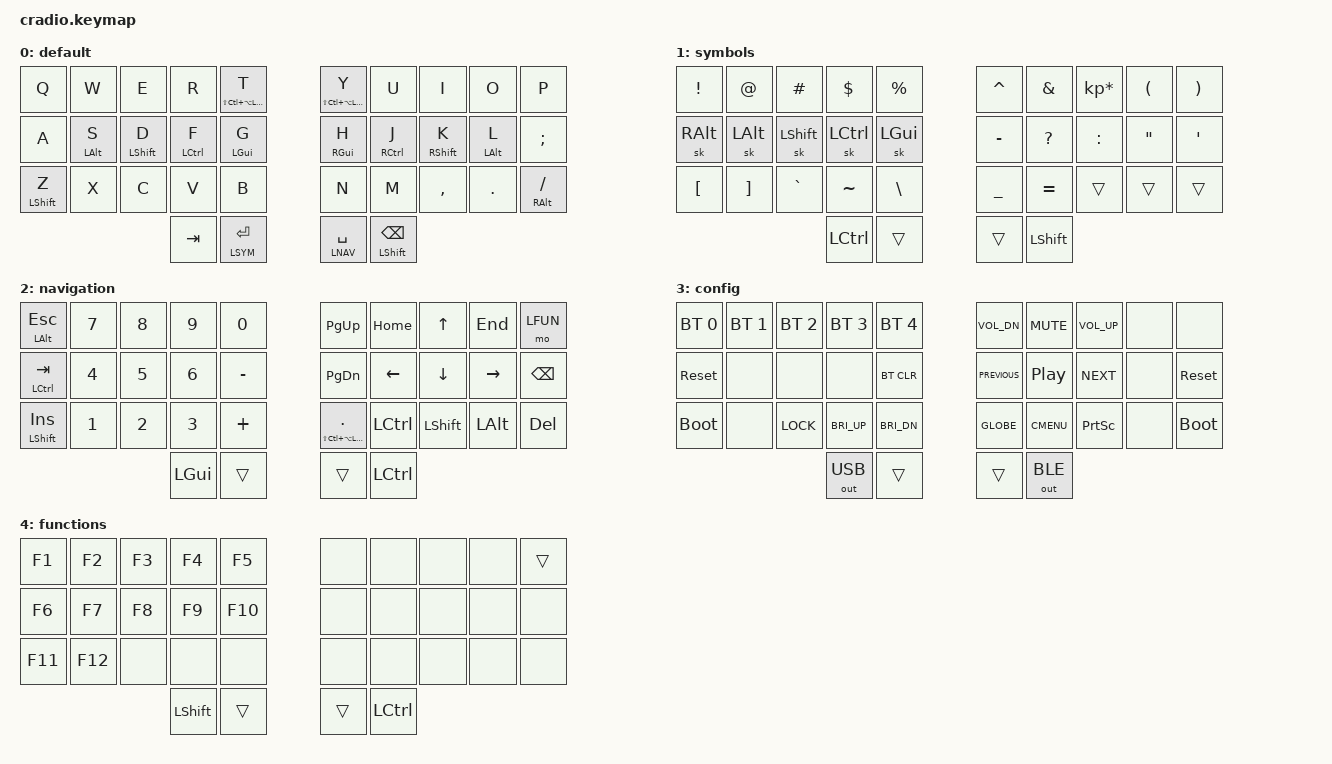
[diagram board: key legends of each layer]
/*
 * Copyright (c) 2020 The ZMK Contributors
 *
 * SPDX-License-Identifier: MIT
 */

#include <behaviors.dtsi>
#include <dt-bindings/zmk/keys.h>
#include <dt-bindings/zmk/bt.h>
#include <dt-bindings/zmk/outputs.h>

#define LBAS 0
#define LSYM 1
#define LNAV 2
#define LCFG 3
#define LFUN 4

#define KEYS_L 0 1 2 3 4 10 11 12 13 14 20 21 22 23 24
#define KEYS_R 5 6 7 8 9 15 16 17 18 19 25 26 27 28 29
#define THUMBS 30 31 32 33

// Hyper key shortcut
#define LHYP LS(LC(LA(LGUI)))

// For layer-tap, to handle repeated taps (e.g. hold BSPC):
&lt {
    quick-tap-ms = <200>;
};
&mt {
    quick-tap-ms = <200>;
};

&sk {
    release-after-ms = <2000>;
};

/ {
    behaviors {
        mtt:mod_tap_to {
            compatible = "zmk,behavior-hold-tap";
            label = "MOD_TAP_TO";
            #binding-cells = <2>;
            flavor = "balanced";
            tapping-term-ms = <200>;
            quick-tap-ms = <0>;
            bindings = <&kp>, <&to>;
        };
        mlt:momentary_layer_tap_to {
            compatible = "zmk,behavior-hold-tap";
            label="MOMENTARY_LAYER_TAP_TO";
            #binding-cells = <2>;
            flavor = "balanced";
            tapping-term-ms = <200>;
            quick-tap-ms = <0>;
            bindings = <&mo>, <&to>;
        };
        hml:home_row_mod_left {
            compatible = "zmk,behavior-hold-tap";
            flavor = "balanced";
            #binding-cells = <2>;
            tapping-term-ms = <280>;
            quick-tap-ms = <200>;
            require-prior-idle-ms = <120>;
            bindings = <&kp>, <&kp>;
            hold-trigger-key-positions = <KEYS_R THUMBS>;
            hold-trigger-on-release;
        };
        hmr:home_row_mod_right {
            compatible = "zmk,behavior-hold-tap";
            flavor = "balanced";
            #binding-cells = <2>;
            tapping-term-ms = <280>;
            quick-tap-ms = <200>;
            require-prior-idle-ms = <120>;
            bindings = <&kp>, <&kp>;
            hold-trigger-key-positions = <KEYS_L THUMBS>;
            hold-trigger-on-release;
        };

        nwin: swapper {
          compatible = "zmk,behavior-tri-state";
          #binding-cells = <0>;
          bindings = <&kt LGUI>, <&kp TAB>, <&kt LGUI>;
          ignored-key-positions = <KEYS_L>;
        };

    };

    conditional_layers {
        compatible = "zmk,conditional-layers";
        adjust_layer {
            if-layers = <LSYM LNAV>;
            then-layer = <LCFG>;
        };
    };
    combos {
        compatible = "zmk,combos";
        require-prior-idle-ms = <100>;
        timeout-ms = <100>;
        /*
        // Escape under W-E
        combo_esc {
            key-positions = <1 2>;
            bindings = <&kp ESC>;
        };
        // Enter under E-R
        combo_enter {
          key-positions = <2 3>;
          bindings = <&kp ENTER>;
        };
        // Backspace under U-I
        combo_bspc {
          key-positions = <6 7>;
          bindings = <&kp BSPC>;
        };
        // Delete under I-O
        combo_del {
          key-positions = <7 8>;
          bindings = <&kp DEL>;
        };
        */
    };

    keymap {
        compatible = "zmk,keymap";
       	layer_default {
            label = "default";
            bindings = <
            &kp Q       &kp W       &kp E        &kp R        &hml LHYP T      &hmr LHYP Y   &kp U         &kp I        &kp O       &kp P
            &kp A       &hml LALT S &hml LSHFT D &hml LCTRL F &hml LGUI G      &hmr RGUI H   &hmr RCTRL J  &hmr RSHFT K &hmr LALT L &kp SEMI
            &mt LSHFT Z &kp X       &kp C        &kp V        &kp B            &kp N         &kp M         &kp COMMA    &kp DOT     &mt RALT FSLH
                                                 &kp TAB &lt LSYM ENTER  	   &lt LNAV SPC &mt LSHFT BSPC
            >;
		};
       	layer_symbols {
            label = "symbols";
            bindings = <
            &kp EXCL &kp AT   &kp HASH  &kp DLLR  &kp PRCNT       &kp CARET  &kp AMPS   &kp KP_MULTIPLY  &kp LPAR &kp RPAR
            &sk RALT &sk LALT &sk LSHFT &sk LCTRL &sk LGUI        &kp MINUS  &kp QMARK  &kp COLON        &kp DQT &kp SQT
            &kp LBKT &kp RBKT &kp GRAVE &kp TILDE &kp BSLH        &kp UNDER  &kp EQUAL  &trans           &trans   &trans
                                        &kp LCTRL &trans          &trans &kp LSHFT
            >;
		};
		layer_navigation {
            label = "navigation";
            bindings = <
            &mt LALT ESC  &kp N7 &kp N8 &kp N9 &kp N0         &kp PG_UP    &kp HOME  &kp UP    &kp END     &mo LFUN
            &mt LCTRL TAB &kp N4 &kp N5 &kp N6 &kp MINUS      &kp PG_DN    &kp LEFT  &kp DOWN  &kp RIGHT   &kp BSPC
            &mt LSHFT INS &kp N1 &kp N2 &kp N3 &kp PLUS       &mt LHYP DOT &kp LCTRL &kp LSHFT &kp LALT    &kp DEL
                                        &kp LGUI &trans       &trans &kp LCTRL
            >;
		};

        layer_config {
            label = "config";
            bindings = <
            &bt BT_SEL 0 &bt BT_SEL 1 &bt BT_SEL 2 &bt BT_SEL 3 &bt BT_SEL 4          &kp C_VOL_DN   &kp C_MUTE  &kp C_VOL_UP &none &none
            &sys_reset   &none        &none        &none        &bt BT_CLR            &kp C_PREVIOUS &kp C_PP    &kp C_NEXT   &none &sys_reset
            &bootloader  &none        &kp K_LOCK   &kp C_BRI_UP &kp C_BRI_DN          &kp GLOBE      &kp K_CMENU &kp PSCRN    &none &bootloader
                                                   &out OUT_USB &trans                &trans &out OUT_BLE
            >;
        };

        layer_functions {
            label = "functions";
            bindings = <
            &kp F1  &kp F2  &kp F3 &kp F4 &kp F5      &none &none &none &none &trans
            &kp F6  &kp F7  &kp F8 &kp F9 &kp F10     &none &none &none &none &none
            &kp F11 &kp F12 &none &none  &none       &none &none &none &none &none
                                  &kp LSHFT &trans   &trans  &kp LCTRL
            >;
        };
	};
};
